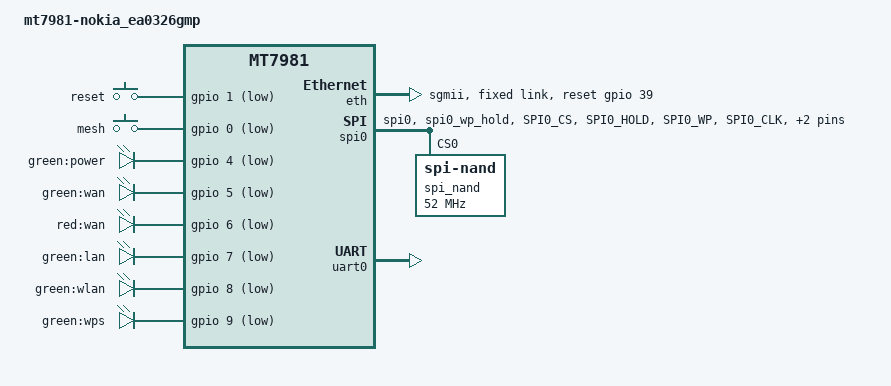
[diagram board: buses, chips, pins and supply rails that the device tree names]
// SPDX-License-Identifier: GPL-2.0-or-later OR MIT

/dts-v1/;
#include "mt7981.dtsi"
#include <dt-bindings/gpio/gpio.h>

/ {
	#address-cells = <1>;
	#size-cells = <1>;
	model = "mt7981-nokia_ea0326gmp";
	compatible = "mediatek,mt7981", "mediatek,mt7981-rfb";

	chosen {
		stdout-path = &uart0;
		tick-timer = &timer0;
	};

	config {
		bootcmd = "mtkboardboot";
		blink_led = "green:power";
		system_led = "green:power";
	};

	gpio-keys {
		compatible = "gpio-keys";

		button-reset {
			label = "reset";
			gpios = <&gpio 1 GPIO_ACTIVE_LOW>;
		};

		button-wps {
			label = "mesh";
			gpios = <&gpio 0 GPIO_ACTIVE_LOW>;
		};
	};

	leds {
		compatible = "gpio-leds";

		power_led: led-0 {
			label = "green:power";
			gpios = <&gpio 4 GPIO_ACTIVE_LOW>;
		};

		led-1 {
			label = "green:wan";
			gpios = <&gpio 5 GPIO_ACTIVE_LOW>;
		};

		led-2 {
			label = "red:wan";
			gpios = <&gpio 6 GPIO_ACTIVE_LOW>;
		};

		led-3 {
			label = "green:lan";
			gpios = <&gpio 7 GPIO_ACTIVE_LOW>;
		};

		led-4 {
			label = "green:wlan";
			gpios = <&gpio 8 GPIO_ACTIVE_LOW>;
		};

		led-5 {
			label = "green:wps";
			gpios = <&gpio 9 GPIO_ACTIVE_LOW>;
		};
	};
};

&eth {
	status = "okay";
	mediatek,gmac-id = <0>;
	phy-mode = "sgmii";
	mediatek,switch = "mt7531";
	reset-gpios = <&gpio 39 GPIO_ACTIVE_HIGH>;

	fixed-link {
		speed = <1000>;
		full-duplex;
	};
};

&pinctrl {
	spi_flash_pins: spi0-pins-func-1 {
		mux {
			function = "flash";
			groups = "spi0", "spi0_wp_hold";
		};

		conf-pu {
			pins = "SPI0_CS", "SPI0_HOLD", "SPI0_WP";
			drive-strength = <MTK_DRIVE_8mA>;
			bias-pull-up = <MTK_PUPD_SET_R1R0_11>;
		};

		conf-pd {
			pins = "SPI0_CLK", "SPI0_MOSI", "SPI0_MISO";
			drive-strength = <MTK_DRIVE_8mA>;
			bias-pull-down = <MTK_PUPD_SET_R1R0_11>;
		};
	};
};

&spi0 {
	#address-cells = <1>;
	#size-cells = <0>;
	pinctrl-names = "default";
	pinctrl-0 = <&spi_flash_pins>;
	status = "okay";
	must_tx;
	enhance_timing;
	dma_ext;
	ipm_design;
	support_quad;
	tick_dly = <2>;
	sample_sel = <0>;

	spi_nand@0 {
		compatible = "spi-nand";
		reg = <0>;
		spi-max-frequency = <52000000>;
	};
};

&uart0 {
	status = "okay";
};

&watchdog {
	status = "disabled";
};
